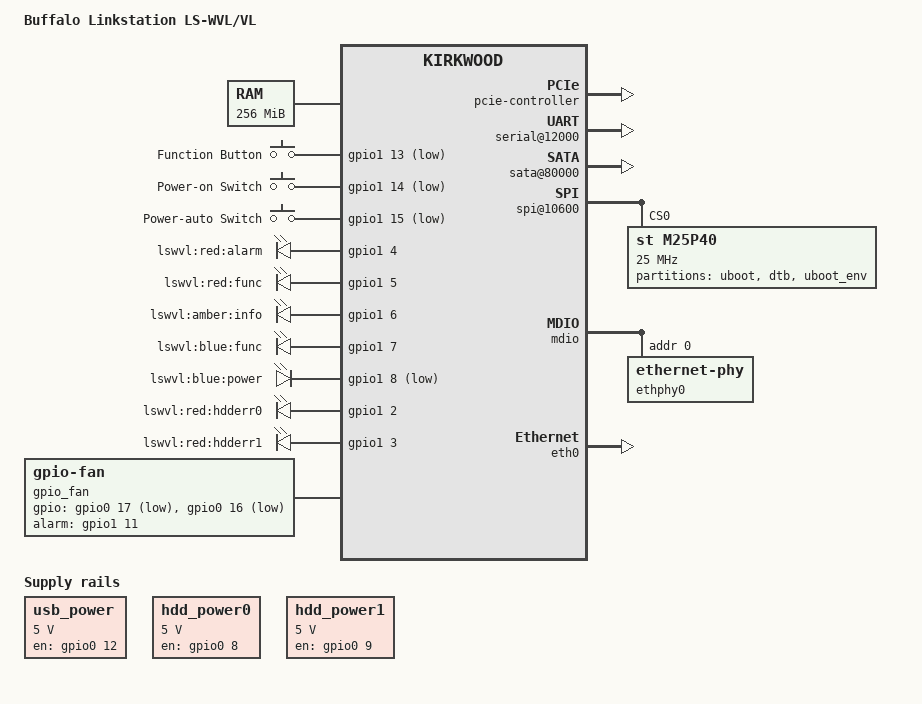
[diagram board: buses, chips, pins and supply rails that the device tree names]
/*
 * Device Tree file for Buffalo Linkstation LS-WVL/VL
 *
 * Copyright (C) 2015, 2016
 * Roger Shimizu <rogershimizu@gmail.com>
 *
 * This program is free software; you can redistribute it and/or
 * modify it under the terms of the GNU General Public License
 * as published by the Free Software Foundation; either version
 * 2 of the License, or (at your option) any later version.
 */

/dts-v1/;

#include "kirkwood.dtsi"
#include "kirkwood-6282.dtsi"

/ {
	model = "Buffalo Linkstation LS-WVL/VL";
	compatible = "buffalo,lswvl", "buffalo,lsvl", "marvell,kirkwood-88f6282", "marvell,kirkwood";

	memory { /* 256 MB */
		device_type = "memory";
		reg = <0x00000000 0x10000000>;
	};

	chosen {
		bootargs = "console=ttyS0,115200n8 earlyprintk";
		stdout-path = &uart0;
	};

	mbus {
		pcie-controller {
			status = "okay";
			pcie@1,0 {
				status = "okay";
			};
		};
	};

	ocp@f1000000 {
		pinctrl: pin-controller@10000 {
			pmx_power_hdd0: pmx-power-hdd0 {
				marvell,pins = "mpp8";
				marvell,function = "gpio";
			};
			pmx_power_hdd1: pmx-power-hdd1 {
				marvell,pins = "mpp9";
				marvell,function = "gpio";
			};
			pmx_usb_vbus: pmx-usb-vbus {
				marvell,pins = "mpp12";
				marvell,function = "gpio";
			};
			pmx_fan_high: pmx-fan-high {
				marvell,pins = "mpp16";
				marvell,function = "gpio";
			};
			pmx_fan_low: pmx-fan-low {
				marvell,pins = "mpp17";
				marvell,function = "gpio";
			};
			pmx_led_hdderr0: pmx-led-hdderr0 {
				marvell,pins = "mpp34";
				marvell,function = "gpio";
			};
			pmx_led_hdderr1: pmx-led-hdderr1 {
				marvell,pins = "mpp35";
				marvell,function = "gpio";
			};
			pmx_led_alarm: pmx-led-alarm {
				marvell,pins = "mpp36";
				marvell,function = "gpio";
			};
			pmx_led_function_red: pmx-led-function-red {
				marvell,pins = "mpp37";
				marvell,function = "gpio";
			};
			pmx_led_info: pmx-led-info {
				marvell,pins = "mpp38";
				marvell,function = "gpio";
			};
			pmx_led_function_blue: pmx-led-function-blue {
				marvell,pins = "mpp39";
				marvell,function = "gpio";
			};
			pmx_led_power: pmx-led-power {
				marvell,pins = "mpp40";
				marvell,function = "gpio";
			};
			pmx_fan_lock: pmx-fan-lock {
				marvell,pins = "mpp43";
				marvell,function = "gpio";
			};
			pmx_button_function: pmx-button-function {
				marvell,pins = "mpp45";
				marvell,function = "gpio";
			};
			pmx_power_switch: pmx-power-switch {
				marvell,pins = "mpp46";
				marvell,function = "gpio";
			};
			pmx_power_auto_switch: pmx-power-auto-switch {
				marvell,pins = "mpp47";
				marvell,function = "gpio";
			};
		};

		serial@12000 {
			status = "okay";
		};

		sata@80000 {
			status = "okay";
			nr-ports = <2>;
		};

		spi@10600 {
			status = "okay";

			m25p40@0 {
				#address-cells = <1>;
				#size-cells = <1>;
				compatible = "st,m25p40", "jedec,spi-nor";
				reg = <0>;
				spi-max-frequency = <25000000>;
				mode = <0>;

				partition@0 {
					reg = <0x0 0x60000>;
					label = "uboot";
					read-only;
				};

				partition@60000 {
					reg = <0x60000 0x10000>;
					label = "dtb";
					read-only;
				};

				partition@70000 {
					reg = <0x70000 0x10000>;
					label = "uboot_env";
				};
			};
		};
	};

	gpio_keys {
		compatible = "gpio-keys";
		#address-cells = <1>;
		#size-cells = <0>;
		pinctrl-0 = <&pmx_button_function &pmx_power_switch
			     &pmx_power_auto_switch>;
		pinctrl-names = "default";

		button@1 {
			label = "Function Button";
			linux,code = <KEY_OPTION>;
			gpios = <&gpio1 13 GPIO_ACTIVE_LOW>;
		};

		button@2 {
			label = "Power-on Switch";
			linux,code = <KEY_RESERVED>;
			linux,input-type = <5>;
			gpios = <&gpio1 14 GPIO_ACTIVE_LOW>;
		};

		button@3 {
			label = "Power-auto Switch";
			linux,code = <KEY_ESC>;
			linux,input-type = <5>;
			gpios = <&gpio1 15 GPIO_ACTIVE_LOW>;
		};
	};

	gpio_leds {
		compatible = "gpio-leds";
		pinctrl-0 = <&pmx_led_function_red &pmx_led_alarm
			     &pmx_led_info &pmx_led_power
			     &pmx_led_function_blue
			     &pmx_led_hdderr0
			     &pmx_led_hdderr1>;
		pinctrl-names = "default";

		led@1 {
			label = "lswvl:red:alarm";
			gpios = <&gpio1 4 GPIO_ACTIVE_HIGH>;
		};

		led@2 {
			label = "lswvl:red:func";
			gpios = <&gpio1 5 GPIO_ACTIVE_HIGH>;
		};

		led@3 {
			label = "lswvl:amber:info";
			gpios = <&gpio1 6 GPIO_ACTIVE_HIGH>;
		};

		led@4 {
			label = "lswvl:blue:func";
			gpios = <&gpio1 7 GPIO_ACTIVE_HIGH>;
		};

		led@5 {
			label = "lswvl:blue:power";
			gpios = <&gpio1 8 GPIO_ACTIVE_LOW>;
			default-state = "keep";
		};

		led@6 {
			label = "lswvl:red:hdderr0";
			gpios = <&gpio1 2 GPIO_ACTIVE_HIGH>;
		};

		led@7 {
			label = "lswvl:red:hdderr1";
			gpios = <&gpio1 3 GPIO_ACTIVE_HIGH>;
		};
	};

	gpio_fan {
		compatible = "gpio-fan";
		pinctrl-0 = <&pmx_fan_low &pmx_fan_high &pmx_fan_lock>;
		pinctrl-names = "default";

		gpios = <&gpio0 17 GPIO_ACTIVE_LOW
			 &gpio0 16 GPIO_ACTIVE_LOW>;

		gpio-fan,speed-map = <0 3
				1500 2
				3250 1
				5000 0>;

		alarm-gpios = <&gpio1 11 GPIO_ACTIVE_HIGH>;
	};

	restart_poweroff {
		compatible = "restart-poweroff";
	};

	regulators {
		compatible = "simple-bus";
		#address-cells = <1>;
		#size-cells = <0>;
		pinctrl-0 = <&pmx_power_hdd0 &pmx_power_hdd1 &pmx_usb_vbus>;
		pinctrl-names = "default";

		usb_power: regulator@1 {
			compatible = "regulator-fixed";
			reg = <1>;
			regulator-name = "USB Power";
			regulator-min-microvolt = <5000000>;
			regulator-max-microvolt = <5000000>;
			enable-active-high;
			regulator-always-on;
			regulator-boot-on;
			gpio = <&gpio0 12 GPIO_ACTIVE_HIGH>;
		};
		hdd_power0: regulator@2 {
			compatible = "regulator-fixed";
			reg = <2>;
			regulator-name = "HDD0 Power";
			regulator-min-microvolt = <5000000>;
			regulator-max-microvolt = <5000000>;
			enable-active-high;
			regulator-always-on;
			regulator-boot-on;
			gpio = <&gpio0 8 GPIO_ACTIVE_HIGH>;
		};
		hdd_power1: regulator@3 {
			compatible = "regulator-fixed";
			reg = <3>;
			regulator-name = "HDD1 Power";
			regulator-min-microvolt = <5000000>;
			regulator-max-microvolt = <5000000>;
			enable-active-high;
			regulator-always-on;
			regulator-boot-on;
			gpio = <&gpio0 9 GPIO_ACTIVE_HIGH>;
		};
	};
};

&mdio {
	status = "okay";

	ethphy0: ethernet-phy@0 {
		device_type = "ethernet-phy";
		reg = <0>;
	};
};

&eth0 {
	status = "okay";

	ethernet0-port@0 {
		phy-handle = <&ethphy0>;
	};
};
